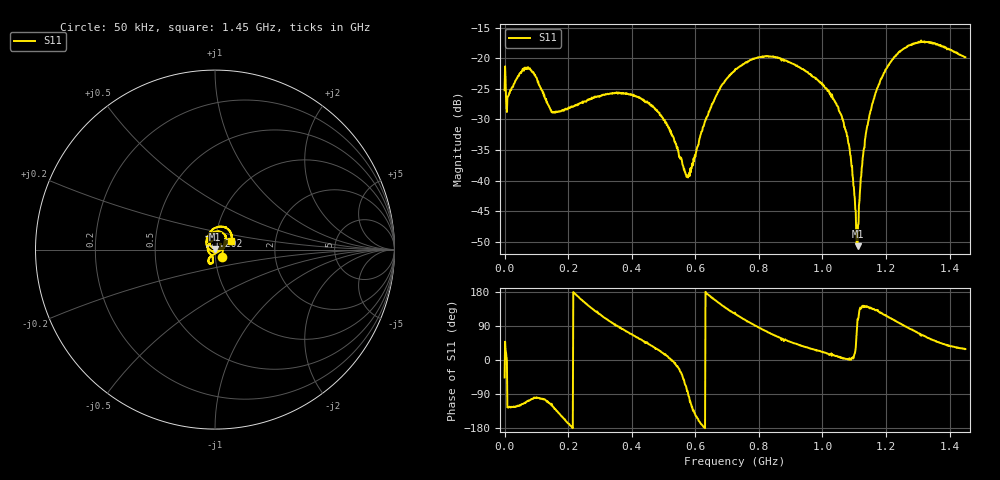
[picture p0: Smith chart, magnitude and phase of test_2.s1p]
! Created with skrf 1.11.0 (http://scikit-rf.org).
# Hz S RI R 50.0
!freq ReS11 ImS11
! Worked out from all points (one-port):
!   1001 points, 50 kHz to 1.45 GHz, reference 50 ohm
!   lowest |S11| = -50.7 dB at 1.111 GHz (marker M1), VSWR 1.01, Z = 49.9 + j0.276 ohm
!   |S11| at or under -10 dB: start of sweep to end of sweep
!   S11 on the Smith chart (normalised r, x): 50 kHz: 1.08, -0.09; 1.202 GHz: 0.92, +0.14; 1.45 GHz: 1.19, +0.12
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50000  0.0378 -0.0395
1.16496e7  -0.0286 -0.0399
4.93483e7  -0.0369 -0.066
7.54474e7  -0.0261 -0.0776
1.46495e8  -0.0179 -0.033
1.812938e8  -0.0328 -0.0184
3.625375e8  0.00501 0.0515
4.727337e8  0.0326 0.0205
5.437812e8  0.018 -0.00527
5.698804e8  0.00433 -0.0104
5.8003e8  -0.00118 -0.0108
6.496276e8  -0.0384 0.00975
7.25025e8  -0.0465 0.0664
8.207217e8  0.0237 0.101
9.062688e8  0.0631 0.0645
1.025165e9  0.0483 0.0132
1.062863e9  0.0315 0.00256
1.087512e9  0.0162 0.00106
1.104912e9  0.0048 0.00301
1.110712e9  -0.000897 0.00277
1.115062e9  -0.00343 0.00525
1.126661e9  -0.0121 0.00923
1.141161e9  -0.0215 0.018
1.16726e9  -0.0342 0.0392
1.202059e9  -0.0359 0.0745
1.268756e9  0.0103 0.125
1.338354e9  0.0743 0.1113
1.45e9  0.0891 0.049
